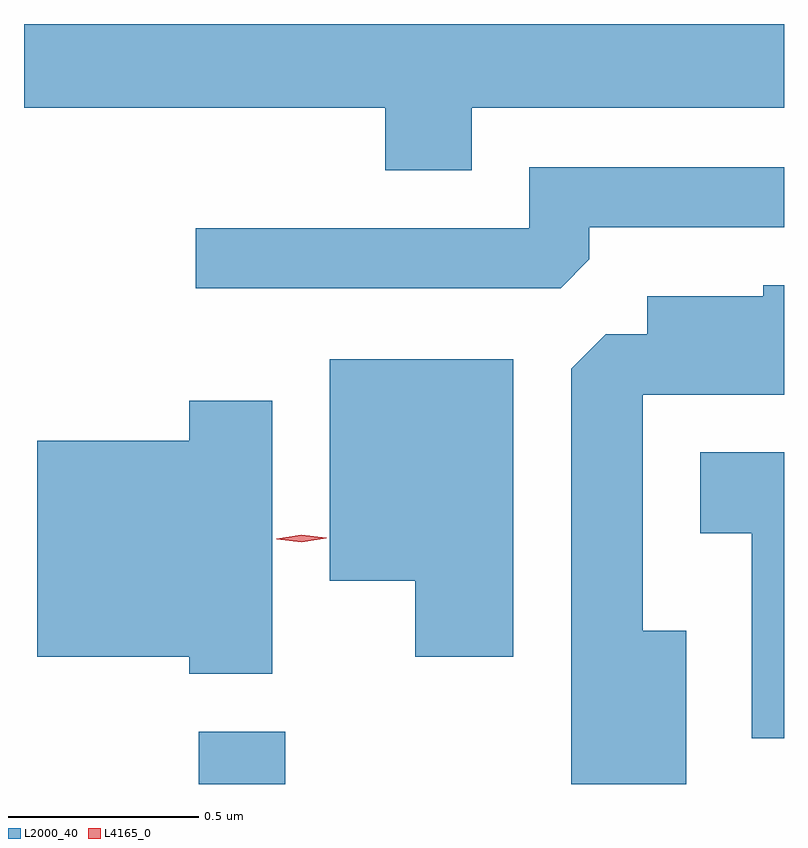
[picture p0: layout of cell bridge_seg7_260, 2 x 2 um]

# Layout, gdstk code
import gdstk
lib = gdstk.Library(unit=1e-6, precision=1e-09)
def R(c, l, rs):  # rectangles x0, y0, x1, y1
    for r in rs: c.add(gdstk.rectangle(r[:2], r[2:], *l))
def P(c, l, *ps):  # polygons
    for p in ps: c.add(gdstk.Polygon(p, *l))
L2000_40 = (2000, 40)
L4165_0 = (4165, 0)

bridge_seg7_260 = lib.new_cell('bridge_seg7_260')
R(bridge_seg7_260, L2000_40, [(1813.351,1710.316,1813.579,1710.454)])
P(bridge_seg7_260, L2000_40, [(1814.069,1712.096),(1814.891,1712.096),(1814.891,1712.316),(1812.891,1712.316),(1812.891,1712.096),(1813.841,1712.096),(1813.841,1711.931),(1814.069,1711.931)],
  [(1814.379,1711.697),(1814.379,1711.781),(1814.891,1711.781),(1814.891,1711.939),(1814.221,1711.939),(1814.221,1711.779),(1813.343,1711.779),(1813.343,1711.621),(1814.304,1711.621)],
  [(1814.634,1710.719),(1814.519,1710.719),(1814.519,1711.341),(1814.891,1711.341),(1814.891,1711.629),(1814.836,1711.629),(1814.836,1711.599),(1814.531,1711.599),(1814.531,1711.499),(1814.422,1711.499),(1814.331,1711.409),(1814.331,1710.316),(1814.634,1710.316)],
  [(1814.179,1711.434),(1813.696,1711.434),(1813.696,1710.851),(1813.921,1710.851),(1813.921,1710.651),(1814.179,1710.651)],
  [(1813.544,1711.324),(1813.326,1711.324),(1813.326,1711.219),(1812.926,1711.219),(1812.926,1710.651),(1813.326,1710.651),(1813.326,1710.606),(1813.544,1710.606)],
  [(1814.891,1711.189),(1814.671,1711.189),(1814.671,1710.976),(1814.806,1710.976),(1814.806,1710.436),(1814.891,1710.436)])
P(bridge_seg7_260, L4165_0, [(1813.622,1710.952),(1813.556,1710.96),(1813.555,1710.961),(1813.556,1710.962),(1813.621,1710.972),(1813.687,1710.964),(1813.688,1710.964),(1813.687,1710.963)])

lib.write_gds('bridge_seg7_260.gds')
